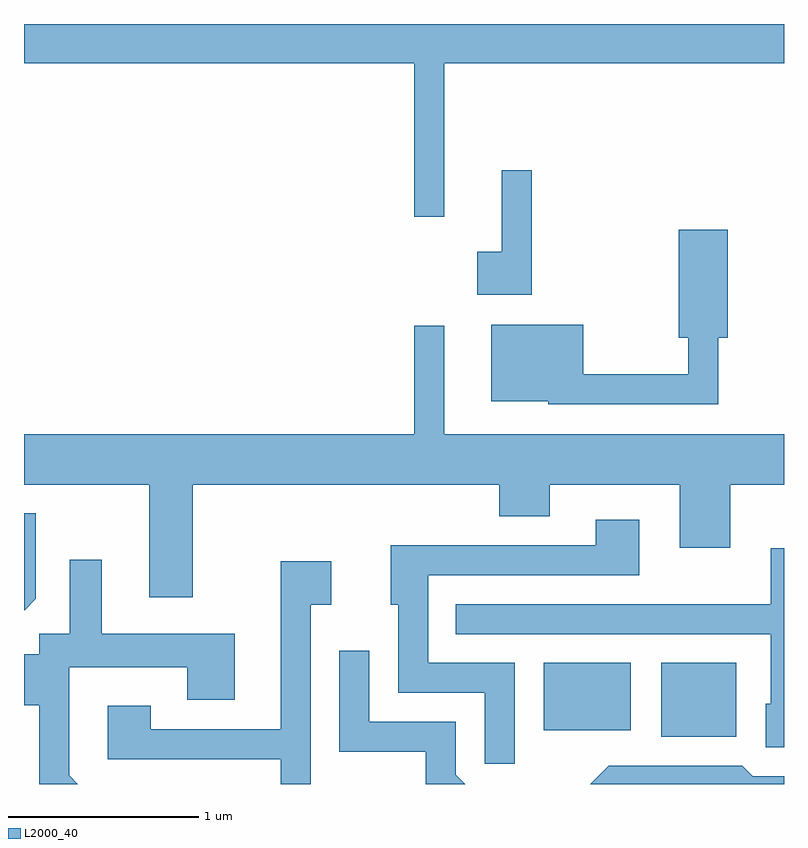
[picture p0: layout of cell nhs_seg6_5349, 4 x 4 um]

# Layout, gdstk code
import gdstk
lib = gdstk.Library(unit=1e-6, precision=1e-09)
def R(c, l, rs):  # rectangles x0, y0, x1, y1
    for r in rs: c.add(gdstk.rectangle(r[:2], r[2:], *l))
def P(c, l, *ps):  # polygons
    for p in ps: c.add(gdstk.Polygon(p, *l))
L2000_40 = (2000, 40)

nhs_seg6_5349 = lib.new_cell('nhs_seg6_5349')
R(nhs_seg6_5349, L2000_40, [(350.966,1626.411,351.359,1626.799), (350.346,1626.446,350.804,1626.799)])
P(nhs_seg6_5349, L2000_40, [(349.824,1629.956),(351.611,1629.956),(351.611,1630.162),(347.611,1630.162),(347.611,1629.956),(349.666,1629.956),(349.666,1629.148),(349.824,1629.148)],
  [(350.284,1629.393),(350.126,1629.393),(350.126,1628.964),(349.996,1628.964),(349.996,1628.736),(350.284,1628.736)],
  [(351.264,1628.511),(351.314,1628.511),(351.314,1629.079),(351.056,1629.079),(351.056,1628.511),(351.106,1628.511),(351.106,1628.319),(350.554,1628.319),(350.554,1628.579),(350.071,1628.579),(350.071,1628.176),(350.37,1628.176),(350.37,1628.161),(351.264,1628.161)],
  [(348.499,1627.736),(350.111,1627.736),(350.111,1627.571),(350.379,1627.571),(350.379,1627.736),(351.061,1627.736),(351.061,1627.406),(351.329,1627.406),(351.329,1627.736),(351.611,1627.736),(351.611,1628.004),(349.824,1628.004),(349.824,1628.573),(349.666,1628.573),(349.666,1628.004),(347.611,1628.004),(347.611,1627.736),(348.271,1627.736),(348.271,1627.146),(348.499,1627.146)],
  [(347.674,1627.137),(347.674,1627.588),(347.611,1627.588),(347.611,1627.076),(347.614,1627.076)],
  [(350.194,1626.799),(349.739,1626.799),(349.739,1627.261),(350.849,1627.261),(350.849,1627.554),(350.621,1627.554),(350.621,1627.419),(349.541,1627.419),(349.541,1627.106),(349.581,1627.106),(349.581,1626.641),(350.036,1626.641),(350.036,1626.268),(350.194,1626.268)],
  [(351.611,1627.404),(351.541,1627.404),(351.541,1627.109),(349.883,1627.109),(349.883,1626.951),(351.541,1626.951),(351.541,1626.584),(351.516,1626.584),(351.516,1626.356),(351.611,1626.356)],
  [(347.849,1626.207),(347.849,1626.776),(348.471,1626.776),(348.471,1626.606),(348.719,1626.606),(348.719,1626.954),(348.019,1626.954),(348.019,1627.343),(347.851,1627.343),(347.851,1626.954),(347.691,1626.954),(347.691,1626.844),(347.611,1626.844),(347.611,1626.576),(347.691,1626.576),(347.691,1626.162),(347.894,1626.162)],
  [(349.119,1627.106),(349.229,1627.106),(349.229,1627.334),(348.961,1627.334),(348.961,1626.449),(348.279,1626.449),(348.279,1626.574),(348.051,1626.574),(348.051,1626.291),(348.961,1626.291),(348.961,1626.162),(349.119,1626.162)],
  [(349.884,1626.212),(349.884,1626.489),(349.429,1626.489),(349.429,1626.863),(349.271,1626.863),(349.271,1626.331),(349.726,1626.331),(349.726,1626.162),(349.934,1626.162)],
  [(351.611,1626.204),(351.447,1626.204),(351.392,1626.259),(350.689,1626.259),(350.592,1626.162),(351.611,1626.162)])

lib.write_gds('nhs_seg6_5349.gds')
